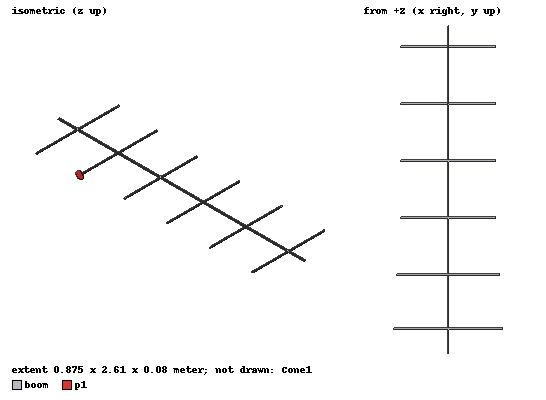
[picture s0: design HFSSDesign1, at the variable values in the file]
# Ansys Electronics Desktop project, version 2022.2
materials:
  vacuum: permittivity=1
  aluminum: permeability=1.000021 conductivity=38000000

design HFSSDesign1 (HFSS, DrivenModal, model units meter)
options: Calculate_Lossy_Dielectrics Save_Adaptive_support_files
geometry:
  boom [aluminum] = cylinder(axis=Y, base_centre=(0meter, 0meter, 0meter), radius=0.0076meter, height=2.61meter)
  reflector = cylinder(axis=X, base_centre=(-0.4375meter, 0.2meter, 0meter), radius=0.0076meter, height=0.875meter)
  Dipole = cylinder(axis=X, base_centre=(-0.408meter, 0.63meter, 0meter), radius=0.0076meter, height=0.8163meter)
  Dir_1 = cylinder(axis=X, base_centre=(-0.3819meter, 1.0825meter, 0meter), radius=0.0076meter, height=0.7638meter)
  Dir_2 = cylinder(axis=X, base_centre=(-0.3819meter, 1.535meter, 0meter), radius=0.0076meter, height=0.7638meter)
  Dir_3 = cylinder(axis=X, base_centre=(-0.3819meter, 1.9875meter, 0meter), radius=0.0076meter, height=0.7638meter)
  Dir_4 = cylinder(axis=X, base_centre=(-0.3819meter, 2.44meter, 0meter), radius=0.0076meter, height=0.7638meter)
  boom.unite(Dipole, Dir_1..Dir_4, reflector)
  p1 = circle(normal=X, centre=(0.4083meter, 0.63meter, 0meter), radius=0.04meter)
  Cone1 [vacuum] = cone(axis=Y, base_centre=(0meter, -0.4525meter, 0meter), bottom_radius=1meter, top_radius=2meter, height=5.062meter)
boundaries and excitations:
  Rad1: Radiation Objects=Cone1
  1: Lumped Port Objects=p1 Modes{Mode1{IntLine{(0.4083, 0.63, -0.04) -> (0.4083, 0.63, 0.04)} CharImp=Zpi RenormImp=50ohm}} Impedance=50ohm
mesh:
  initial mesh: GlobalSurfApproximation{CurvedSurfaceApproxChoice=UseSlider SliderMeshSettings=1}
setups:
  Setup1: HfssDriven Frequency=165MHz MaxDeltaS=0.02 MaximumPasses=15 MinimumPasses=1 MinimumConvergedPasses=1 PercentRefinement=30 BasisOrder=1 PortAccuracy=2 DrivenSolverType="Direct Solver"
    sweep Sweep: 100MHz to 200MHz step 0.1MHz; Type=Fast SaveFields
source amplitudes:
  1:1: 1W 0deg
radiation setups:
  Infinite Sphere1: Infinite Sphere Theta=0deg..180deg step 10deg Phi=0deg..360deg step 10deg
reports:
  XY Plot 1: dB(S(1,1)) vs Freq on Setup1 : Sweep; markers m1 at 164.3MHz, m2 at 134MHz, m3 at 118.2MHz, m4 at 151.2MHz, m5 at 173.4MHz
  3D Polar Plot 1: dB(GainTotal) vs Phi, Theta on Setup1 : LastAdaptive, Infinite Sphere1 [Freq=0.165GHz]
  Radiation Pattern 1: dB(GainTotal) vs Theta on Setup1 : LastAdaptive, Infinite Sphere1 [Phi=all Freq=0.165GHz]
  S Parameter Plot 1: dB(S(1,1)) vs Freq on Setup1 : Sweep
  S Parameter Plot 2: dB(S(1,1)) vs Freq on Setup1 : Sweep
  Gain Plot 1: dB(GainTotal) vs Phi, Theta on Setup1 : LastAdaptive, Infinite Sphere1 [Freq=0.165GHz]
